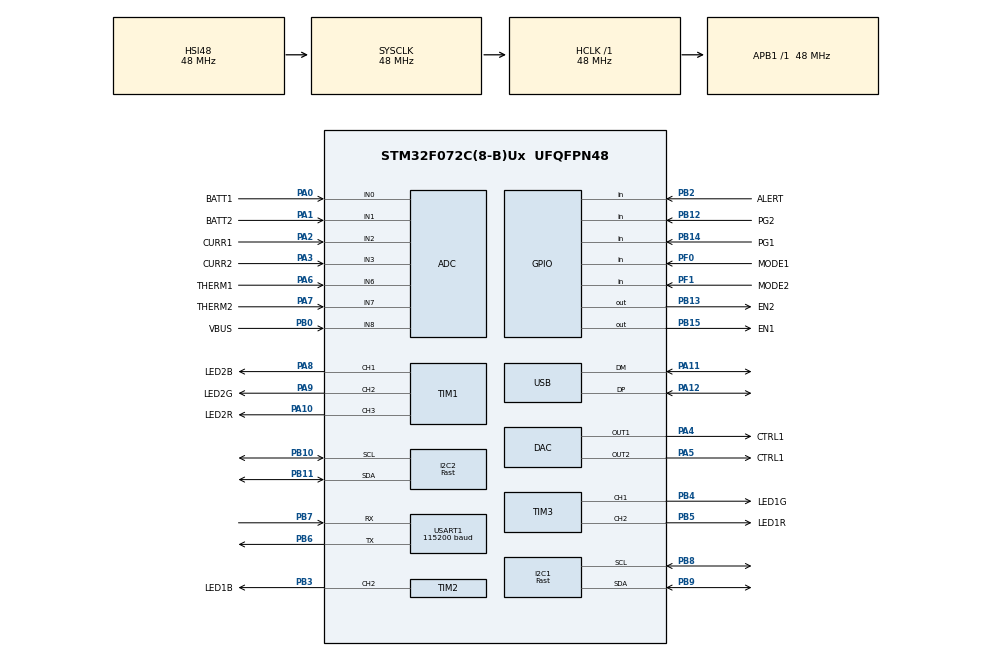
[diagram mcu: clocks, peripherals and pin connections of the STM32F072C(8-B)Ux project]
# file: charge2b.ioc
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ADC.DMAContinuousRequests=ENABLE
ADC.EOCSelection=ADC_EOC_SEQ_CONV
ADC.SamplingTime=ADC_SAMPLETIME_239CYCLES_5
Dma.ADC.0.Direction=DMA_PERIPH_TO_MEMORY
Dma.ADC.0.Instance=DMA1_Channel1
Dma.ADC.0.MemDataAlignment=DMA_MDATAALIGN_HALFWORD
Dma.ADC.0.MemInc=DMA_MINC_ENABLE
Dma.ADC.0.Mode=DMA_NORMAL
Dma.ADC.0.PeriphDataAlignment=DMA_PDATAALIGN_HALFWORD
Dma.ADC.0.PeriphInc=DMA_PINC_DISABLE
Dma.ADC.0.Priority=DMA_PRIORITY_MEDIUM
Dma.Request0=ADC
I2C1.I2C_Speed_Mode=I2C_Fast
I2C1.Timing=0x0010020A
I2C2.I2C_Fall_Time=100
I2C2.I2C_Rise_Time=100
I2C2.I2C_Speed_Mode=I2C_Fast
I2C2.Timing=0x0090194B
IWDG.Prescaler=IWDG_PRESCALER_32
IWDG.Reload=1250
IWDG.Window=1250
Mcu.Family=STM32F0
Mcu.Name=STM32F072C(8-B)Ux
Mcu.Package=UFQFPN48
NVIC.DMA1_Channel1_IRQn=true\:0\:0\:false\:false\:true\:false\:true\:true
NVIC.USB_IRQn=true\:0\:0\:false\:false\:true\:false\:true\:true
PA0.GPIO_Label=BATT1
PA0.Mode=IN0
PA0.Signal=ADC_IN0
PA1.GPIO_Label=BATT2
PA1.Mode=IN1
PA1.Signal=ADC_IN1
PA10.GPIO_Label=LED2R
PA10.Signal=S_TIM1_CH3
PA11.Mode=Device
PA11.Signal=USB_DM
PA12.Mode=Device
PA12.Signal=USB_DP
PA13.Mode=Serial_Wire
PA13.Signal=SYS_SWDIO
PA14.Mode=Serial_Wire
PA14.Signal=SYS_SWCLK
PA2.GPIO_Label=CURR1
PA2.Mode=IN2
PA2.Signal=ADC_IN2
PA3.GPIO_Label=CURR2
PA3.Mode=IN3
PA3.Signal=ADC_IN3
PA4.GPIO_Label=CTRL1
PA4.Signal=COMP_DAC1_group
PA5.GPIO_Label=CTRL1
PA5.Signal=COMP_DAC2_group
PA6.GPIO_Label=THERM1
PA6.Mode=IN6
PA6.Signal=ADC_IN6
PA7.GPIO_Label=THERM2
PA7.Mode=IN7
PA7.Signal=ADC_IN7
PA8.GPIO_Label=LED2B
PA8.Signal=S_TIM1_CH1
PA9.GPIO_Label=LED2G
PA9.Signal=S_TIM1_CH2
PB0.GPIO_Label=VBUS
PB0.Mode=IN8
PB0.Signal=ADC_IN8
PB10.Mode=I2C
PB10.Signal=I2C2_SCL
PB11.Mode=I2C
PB11.Signal=I2C2_SDA
PB12.GPIO_Label=PG2
PB12.GPIO_PuPd=GPIO_PULLUP
PB12.Signal=GPIO_Input
PB13.GPIO_Label=EN2
PB13.GPIO_PuPd=GPIO_PULLDOWN
PB13.Signal=GPIO_Output
PB14.GPIO_Label=PG1
PB14.GPIO_PuPd=GPIO_PULLUP
PB14.Signal=GPIO_Input
PB15.GPIO_Label=EN1
PB15.GPIO_PuPd=GPIO_PULLDOWN
PB15.Signal=GPIO_Output
PB2.GPIO_Label=ALERT
PB2.GPIO_PuPd=GPIO_PULLUP
PB2.Signal=GPIO_Input
PB3.GPIO_Label=LED1B
PB3.Signal=S_TIM2_CH2
PB4.GPIO_Label=LED1G
PB4.Signal=S_TIM3_CH1
PB5.GPIO_Label=LED1R
PB5.Signal=S_TIM3_CH2
PB6.Mode=Asynchronous
PB6.Signal=USART1_TX
PB7.Mode=Asynchronous
PB7.Signal=USART1_RX
PB8.Mode=I2C
PB8.Signal=I2C1_SCL
PB9.Mode=I2C
PB9.Signal=I2C1_SDA
PF0-OSC_IN.GPIO_Label=MODE1
PF0-OSC_IN.GPIO_PuPd=GPIO_PULLUP
PF0-OSC_IN.Signal=GPIO_Input
PF1-OSC_OUT.GPIO_Label=MODE2
PF1-OSC_OUT.GPIO_PuPd=GPIO_PULLUP
PF1-OSC_OUT.Signal=GPIO_Input
ProjectManager.HeapSize=0x200
ProjectManager.StackSize=0x400
ProjectManager.TargetToolchain=CMake
RCC.AHBFreq_Value=48000000
RCC.APB1Freq_Value=48000000
RCC.APB1TimFreq_Value=48000000
RCC.HCLKFreq_Value=48000000
RCC.SYSCLKFreq_VALUE=48000000
RCC.SYSCLKSource=RCC_SYSCLKSOURCE_HSI48
SH.COMP_DAC1_group.0=DAC_OUT1,DAC_OUT1
SH.COMP_DAC2_group.0=DAC_OUT2,DAC_OUT2
SH.S_TIM1_CH1.0=TIM1_CH1,PWM Generation1 CH1
SH.S_TIM1_CH2.0=TIM1_CH2,PWM Generation2 CH2
SH.S_TIM1_CH3.0=TIM1_CH3,PWM Generation3 CH3
SH.S_TIM2_CH2.0=TIM2_CH2,PWM Generation2 CH2
SH.S_TIM3_CH1.0=TIM3_CH1,PWM Generation1 CH1
SH.S_TIM3_CH2.0=TIM3_CH2,PWM Generation2 CH2
STMicroelectronics.X-CUBE-EEPRMA1.5.2.0.EEPROMCcBoardOoPartJjM24JjM24XX=true
TIM1.Channel-PWM\ Generation1\ CH1=TIM_CHANNEL_1
TIM1.Channel-PWM\ Generation2\ CH2=TIM_CHANNEL_2
TIM1.Channel-PWM\ Generation3\ CH3=TIM_CHANNEL_3
TIM2.Channel-PWM\ Generation2\ CH2=TIM_CHANNEL_2
TIM2.Period=65535
TIM3.Channel-PWM\ Generation1\ CH1=TIM_CHANNEL_1
TIM3.Channel-PWM\ Generation2\ CH2=TIM_CHANNEL_2
USART1.BaudRate=115200
USART1.VirtualMode-Asynchronous=VM_ASYNC
USB_DEVICE.CLASS_NAME_FS=CDC
USB_DEVICE.MANUFACTURER_STRING=Tektite
USB_DEVICE.PID_CDC_FS=7777
USB_DEVICE.PRODUCT_STRING_CDC_FS=Charge 2B 0.1.0
USB_DEVICE.VirtualMode=Cdc
USB_DEVICE.VirtualModeFS=Cdc_FS
VP_ADC_TempSens_Input.Mode=IN-TempSens
VP_ADC_Vref_Input.Mode=IN-Vrefint
VP_IWDG_VS_IWDG.Mode=IWDG_Activate
VP_RCC_USB.Mode=CRS SYNC Source USB
VP_STMicroelectronics.X-CUBE-EEPRMA1_VS_BoardOoPartJjEEPROM_5.2.0_5.2.0.Mode=BoardOoPartJjEEPROM
VP_TIM1_VS_ClockSourceINT.Mode=Internal
VP_TIM2_VS_ClockSourceINT.Mode=Internal
VP_TIM3_VS_ClockSourceINT.Mode=Internal
VP_USB_DEVICE_VS_USB_DEVICE_CDC_FS.Mode=CDC_FS
board=custom

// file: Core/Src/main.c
/* USER CODE BEGIN Header */
/**
 ******************************************************************************
 * @file           : main.c
 * @brief          : Main program body
 ******************************************************************************
 * @attention
 *
 * Copyright (c) 2025 STMicroelectronics.
 * All rights reserved.
 *
 * This software is licensed under terms that can be found in the LICENSE file
 * in the root directory of this software component.
 * If no LICENSE file comes with this software, it is provided AS-IS.
 *
 ******************************************************************************
 */
/* USER CODE END Header */
#include "main.h"

#include "usb_device.h"

/* USER CODE BEGIN Includes */
#include "control.h"
#include "fsm.h"
#include "peripheral.h"
#include "ssd1306.h"
#include "ssd1306_fonts.h"
#include "usbd_cdc_if.h"
/* USER CODE END Includes */

ADC_HandleTypeDef hadc;
DMA_HandleTypeDef hdma_adc;

DAC_HandleTypeDef hdac;

I2C_HandleTypeDef hi2c1;
I2C_HandleTypeDef hi2c2;

IWDG_HandleTypeDef hiwdg;

TIM_HandleTypeDef htim1;
TIM_HandleTypeDef htim2;
TIM_HandleTypeDef htim3;

UART_HandleTypeDef huart1;

void SystemClock_Config(void);
static void MX_GPIO_Init(void);
static void MX_DMA_Init(void);
static void MX_ADC_Init(void);
static void MX_DAC_Init(void);
static void MX_I2C1_Init(void);
static void MX_I2C2_Init(void);
static void MX_TIM1_Init(void);
static void MX_TIM2_Init(void);
static void MX_TIM3_Init(void);
static void MX_USART1_UART_Init(void);
static void MX_IWDG_Init(void);

/* USER CODE BEGIN 0 */
int _write(int file, char *ptr, int len) {
  (void)file;  // Unused parameter
  HAL_UART_Transmit(&huart1, (uint8_t *)ptr, len, HAL_MAX_DELAY);
  return len;
}

void DisplayLoadingText(const char *text) {
  int startX = (128 - (strlen(text) * 6)) / 2;
  ssd1306_Display(true);
  ssd1306_FillRectangle(0, 52, 128, 64, Black);
  ssd1306_SetCursor(startX, 54);
  ssd1306_WriteString((char *)text, Font_6x8, White);
  ssd1306_UpdateScreen();

  ssd1306_Display(false);
  ssd1306_FillRectangle(0, 52, 128, 64, Black);
  ssd1306_SetCursor(startX, 54);
  ssd1306_WriteString((char *)text, Font_6x8, White);
  ssd1306_UpdateScreen();
}
/* USER CODE END 0 */

int main(void) {

  /* MCU Configuration--------------------------------------------------------*/

  /* Reset of all peripherals, Initializes the Flash interface and the Systick.
   */
  HAL_Init();

  /* Configure the system clock */
  SystemClock_Config();

  /* Initialize all configured peripherals */
  MX_GPIO_Init();
  MX_DMA_Init();
  MX_ADC_Init();
  MX_DAC_Init();
  MX_I2C1_Init();
  MX_I2C2_Init();
  MX_TIM1_Init();
  MX_TIM2_Init();
  MX_TIM3_Init();
  MX_USART1_UART_Init();
  MX_USB_DEVICE_Init();
  MX_IWDG_Init();
  /* USER CODE BEGIN 2 */
  // Start DAC
  HAL_DAC_Start(&hdac, DAC_CHANNEL_1);
  HAL_DAC_Start(&hdac, DAC_CHANNEL_2);
  EnableReg(true, false);  // Disable regs
  EnableReg(false, false);

  /*// TODO: REMOVE
  __HAL_RCC_DBGMCU_CLK_ENABLE();
  __HAL_DBGMCU_FREEZE_IWDG();*/

  // Start LEDs
  HAL_TIM_PWM_Start(&htim1, TIM_CHANNEL_1);
  HAL_TIM_PWM_Start(&htim1, TIM_CHANNEL_2);
  HAL_TIM_PWM_Start(&htim1, TIM_CHANNEL_3);
  HAL_TIM_PWM_Start(&htim3, TIM_CHANNEL_1);
  HAL_TIM_PWM_Start(&htim3, TIM_CHANNEL_2);
  HAL_TIM_PWM_Start(&htim2, TIM_CHANNEL_2);

  // Start ADC
  if (HAL_ADCEx_Calibration_Start(&hadc) != HAL_OK) {
    Error_Handler();
  }
  __enable_irq();

  // Display
  LEDWrite(true, 0.0f, 0.0f, 0.4f);
  LEDWrite(false, 0.0f, 0.0f, 0.4f);

  ssd1306_Display(true);
  ssd1306_Init();
  ssd1306_DrawBitmap(0, 0, tektite_logo, 128, 52, White);
  ssd1306_SetCursor(19, 54);
  ssd1306_WriteString("NEGOTIATING PDO", Font_6x8, White);
  ssd1306_UpdateScreen();

  ssd1306_Display(false);
  ssd1306_Init();
  ssd1306_DrawBitmap(0, 0, tektite_logo, 128, 52, White);
  ssd1306_SetCursor(19, 54);
  ssd1306_WriteString("NEGOTIATING PDO", Font_6x8, White);
  ssd1306_UpdateScreen();

  // IWDG reset
  HAL_IWDG_Refresh(&hiwdg);

  // USB Read
  bool needsWrite = false;
  for (int i = 0; i < 3; i++) {
    float voltage, current;
    HAL_StatusTypeDef status = USB_ReadPDO(i, &voltage, &current);
    printf("PDO %d: Voltage - %f, Current - %f, Status - %d\n", i + 1, voltage,
           current, status);

    if (i == 1 &&
        (!FLOAT_EQUALS(voltage, 16.0f) || !FLOAT_EQUALS(current, 4.0f))) {
      USB_WritePDO(i, 16.0f, 4.0f);
      needsWrite = true;
      printf("Updated PDO %d to Voltage - 16.0, Current - 4.0\n", i + 1);
    }

    if (i == 2 &&
        (!FLOAT_EQUALS(voltage, 20.0f) || !FLOAT_EQUALS(current, 3.2f))) {
      USB_WritePDO(i, 20.0f, 3.2f);
      needsWrite = true;
      printf("Updated PDO %d to Voltage - 20.0, Current - 3.2\n", i + 1);
    }
  }

  // Write if needed
  // HAL_StatusTypeDef status = USB_WriteDefaultNVM();
  // printf("Write Default NVM Status - %d\n", status);
  if (needsWrite) {
    HAL_StatusTypeDef status = USB_WriteNVMFromPDOs();
    printf("Write NVM from PDOs Status - %d\n", status);
  }

  // IWDG reset
  HAL_IWDG_Refresh(&hiwdg);

  bool negotiated = false;
  int timeout_count = 0;
  const int max_timeout = 20;  // 5 seconds (20 * 250ms)

  while (!negotiated && timeout_count < max_timeout) {
    USB_NegotiatedPDO(&negotiated);
    printf("Negotiated PDO: %d\n", negotiated);
    HAL_Delay(250);
    timeout_count++;
    HAL_IWDG_Refresh(&hiwdg);
  }

  if (!negotiated) {
    printf("PD negotiation timeout - no PD source detected\n");
    LEDWrite(true, 0.4f, 0.0f, 0.0f);  // Red LEDs for error
    LEDWrite(false, 0.4f, 0.0f, 0.0f);
    DisplayLoadingText("NO PD SOURCE");
    while (1) {
      HAL_Delay(500);
      HAL_IWDG_Refresh(&hiwdg);
    }
  }

  bool active;
  USB_NegotiatedPower(&active);
  printf("Active PDO voltage: %d\n", active);
  if (!active) {  // Not 65W brick
    LEDWrite(true, 0.4f, 0.0f, 0.0f);
    LEDWrite(false, 0.4f, 0.0f, 0.0f);
    DisplayLoadingText("UNDER 65W BRICK");
    while (1) {
      HAL_Delay(500);
      HAL_IWDG_Refresh(&hiwdg);
    }
  }

  // Set up EEPROM
  if (EEPROM_Init() != HAL_OK) {
    LEDWrite(true, 0.4f, 0.0f, 0.0f);
    LEDWrite(false, 0.4f, 0.0f, 0.0f);
    DisplayLoadingText("EEPROM INIT FAILED");
    while (1) {
      HAL_Delay(500);
      HAL_IWDG_Refresh(&hiwdg);
    }
  }
  InitFSM();

  // Clear
  ssd1306_Display(true);
  ssd1306_Fill(Black);
  ssd1306_UpdateScreen();

  ssd1306_Display(false);
  ssd1306_Fill(Black);
  ssd1306_UpdateScreen();

  LEDWrite(true, 0.0f, 0.0f, 0.0f);
  LEDWrite(false, 0.0f, 0.0f, 0.0f);
  /* USER CODE END 2 */

  /* Infinite loop */
  /* USER CODE BEGIN WHILE */
  float curr = 2.0f;
  ResetCurrent(true, curr);
  ResetCurrent(false, curr);
  uint32_t prevTime = HAL_GetTick();
  uint32_t lastRender = HAL_GetTick();
  bool rendered2 = false;
  while (1) {
    /* USER CODE END WHILE */

    /* USER CODE BEGIN 3 */
    HAL_IWDG_Refresh(&hiwdg);

    UpdateADC();

    float dT = (HAL_GetTick() - prevTime) / 1000.0f;  // Convert to seconds
    prevTime = HAL_GetTick();

    // FSM
    fsm_Run(true, dT);
    fsm_Run(false, dT);

    // Render
    if (HAL_GetTick() - lastRender > 200) {
      fsm_Render(true);
      lastRender = HAL_GetTick();
      rendered2 = false;
    }
    // Render second display 180deg out of phase
    if (HAL_GetTick() - lastRender > 100 && !rendered2) {
      fsm_Render(false);
      rendered2 = true;
    }
  }
  /* USER CODE END 3 */
}

void SystemClock_Config(void) {
  RCC_OscInitTypeDef RCC_OscInitStruct = {0};
  RCC_ClkInitTypeDef RCC_ClkInitStruct = {0};
  RCC_PeriphCLKInitTypeDef PeriphClkInit = {0};
  RCC_CRSInitTypeDef RCC_CRSInitStruct = {0};

  /** Initializes the RCC Oscillators according to the specified parameters
   * in the RCC_OscInitTypeDef structure.
   */
  RCC_OscInitStruct.OscillatorType =
      RCC_OSCILLATORTYPE_HSI | RCC_OSCILLATORTYPE_HSI14 |
      RCC_OSCILLATORTYPE_HSI48 | RCC_OSCILLATORTYPE_LSI;
  RCC_OscInitStruct.HSIState = RCC_HSI_ON;
  RCC_OscInitStruct.HSI48State = RCC_HSI48_ON;
  RCC_OscInitStruct.HSI14State = RCC_HSI14_ON;
  RCC_OscInitStruct.HSICalibrationValue = RCC_HSICALIBRATION_DEFAULT;
  RCC_OscInitStruct.HSI14CalibrationValue = 16;
  RCC_OscInitStruct.LSIState = RCC_LSI_ON;
  RCC_OscInitStruct.PLL.PLLState = RCC_PLL_NONE;
  if (HAL_RCC_OscConfig(&RCC_OscInitStruct) != HAL_OK) {
    Error_Handler();
  }

  /** Initializes the CPU, AHB and APB buses clocks
   */
  RCC_ClkInitStruct.ClockType =
      RCC_CLOCKTYPE_HCLK | RCC_CLOCKTYPE_SYSCLK | RCC_CLOCKTYPE_PCLK1;
  RCC_ClkInitStruct.SYSCLKSource = RCC_SYSCLKSOURCE_HSI48;
  RCC_ClkInitStruct.AHBCLKDivider = RCC_SYSCLK_DIV1;
  RCC_ClkInitStruct.APB1CLKDivider = RCC_HCLK_DIV1;

  if (HAL_RCC_ClockConfig(&RCC_ClkInitStruct, FLASH_LATENCY_1) != HAL_OK) {
    Error_Handler();
  }
  PeriphClkInit.PeriphClockSelection =
      RCC_PERIPHCLK_USB | RCC_PERIPHCLK_USART1 | RCC_PERIPHCLK_I2C1;
  PeriphClkInit.Usart1ClockSelection = RCC_USART1CLKSOURCE_PCLK1;
  PeriphClkInit.I2c1ClockSelection = RCC_I2C1CLKSOURCE_HSI;
  PeriphClkInit.UsbClockSelection = RCC_USBCLKSOURCE_HSI48;

  if (HAL_RCCEx_PeriphCLKConfig(&PeriphClkInit) != HAL_OK) {
    Error_Handler();
  }

  /** Enable the SYSCFG APB clock
   */
  __HAL_RCC_CRS_CLK_ENABLE();

  /** Configures CRS
   */
  RCC_CRSInitStruct.Prescaler = RCC_CRS_SYNC_DIV1;
  RCC_CRSInitStruct.Source = RCC_CRS_SYNC_SOURCE_USB;
  RCC_CRSInitStruct.Polarity = RCC_CRS_SYNC_POLARITY_RISING;
  RCC_CRSInitStruct.ReloadValue =
      __HAL_RCC_CRS_RELOADVALUE_CALCULATE(48000000, 1000);
  RCC_CRSInitStruct.ErrorLimitValue = 34;
  RCC_CRSInitStruct.HSI48CalibrationValue = 32;

  HAL_RCCEx_CRSConfig(&RCC_CRSInitStruct);
}

static void MX_ADC_Init(void) {

  ADC_ChannelConfTypeDef sConfig = {0};

  /** Configure the global features of the ADC (Clock, Resolution, Data
   * Alignment and number of conversion)
   */
  hadc.Instance = ADC1;
  hadc.Init.ClockPrescaler = ADC_CLOCK_ASYNC_DIV1;
  hadc.Init.Resolution = ADC_RESOLUTION_12B;
  hadc.Init.DataAlign = ADC_DATAALIGN_RIGHT;
  hadc.Init.ScanConvMode = ADC_SCAN_DIRECTION_FORWARD;
  hadc.Init.EOCSelection = ADC_EOC_SEQ_CONV;
  hadc.Init.LowPowerAutoWait = DISABLE;
  hadc.Init.LowPowerAutoPowerOff = DISABLE;
  hadc.Init.ContinuousConvMode = DISABLE;
  hadc.Init.DiscontinuousConvMode = DISABLE;
  hadc.Init.ExternalTrigConv = ADC_SOFTWARE_START;
  hadc.Init.ExternalTrigConvEdge = ADC_EXTERNALTRIGCONVEDGE_NONE;
  hadc.Init.DMAContinuousRequests = ENABLE;
  hadc.Init.Overrun = ADC_OVR_DATA_PRESERVED;
  if (HAL_ADC_Init(&hadc) != HAL_OK) {
    Error_Handler();
  }

  /** Configure for the selected ADC regular channel to be converted.
   */
  sConfig.Channel = ADC_CHANNEL_0;
  sConfig.Rank = ADC_RANK_CHANNEL_NUMBER;
  sConfig.SamplingTime = ADC_SAMPLETIME_239CYCLES_5;
  if (HAL_ADC_ConfigChannel(&hadc, &sConfig) != HAL_OK) {
    Error_Handler();
  }

  /** Configure for the selected ADC regular channel to be converted.
   */
  sConfig.Channel = ADC_CHANNEL_1;
  if (HAL_ADC_ConfigChannel(&hadc, &sConfig) != HAL_OK) {
    Error_Handler();
  }

  /** Configure for the selected ADC regular channel to be converted.
   */
  sConfig.Channel = ADC_CHANNEL_2;
  if (HAL_ADC_ConfigChannel(&hadc, &sConfig) != HAL_OK) {
    Error_Handler();
  }

  /** Configure for the selected ADC regular channel to be converted.
   */
  sConfig.Channel = ADC_CHANNEL_3;
  if (HAL_ADC_ConfigChannel(&hadc, &sConfig) != HAL_OK) {
    Error_Handler();
  }

  /** Configure for the selected ADC regular channel to be converted.
   */
  sConfig.Channel = ADC_CHANNEL_6;
  if (HAL_ADC_ConfigChannel(&hadc, &sConfig) != HAL_OK) {
    Error_Handler();
  }

  /** Configure for the selected ADC regular channel to be converted.
   */
  sConfig.Channel = ADC_CHANNEL_7;
  if (HAL_ADC_ConfigChannel(&hadc, &sConfig) != HAL_OK) {
    Error_Handler();
  }

  /** Configure for the selected ADC regular channel to be converted.
   */
  sConfig.Channel = ADC_CHANNEL_8;
  if (HAL_ADC_ConfigChannel(&hadc, &sConfig) != HAL_OK) {
    Error_Handler();
  }

  /** Configure for the selected ADC regular channel to be converted.
   */
  sConfig.Channel = ADC_CHANNEL_TEMPSENSOR;
  if (HAL_ADC_ConfigChannel(&hadc, &sConfig) != HAL_OK) {
    Error_Handler();
  }

  /** Configure for the selected ADC regular channel to be converted.
   */
  sConfig.Channel = ADC_CHANNEL_VREFINT;
  if (HAL_ADC_ConfigChannel(&hadc, &sConfig) != HAL_OK) {
    Error_Handler();
  }
}

static void MX_DAC_Init(void) {

  DAC_ChannelConfTypeDef sConfig = {0};

  /** DAC Initialization
   */
  hdac.Instance = DAC;
  if (HAL_DAC_Init(&hdac) != HAL_OK) {
    Error_Handler();
  }

  /** DAC channel OUT1 config
   */
  sConfig.DAC_Trigger = DAC_TRIGGER_NONE;
  sConfig.DAC_OutputBuffer = DAC_OUTPUTBUFFER_ENABLE;
  if (HAL_DAC_ConfigChannel(&hdac, &sConfig, DAC_CHANNEL_1) != HAL_OK) {
    Error_Handler();
  }

  /** DAC channel OUT2 config
   */
  if (HAL_DAC_ConfigChannel(&hdac, &sConfig, DAC_CHANNEL_2) != HAL_OK) {
    Error_Handler();
  }
}

static void MX_I2C1_Init(void) {

  hi2c1.Instance = I2C1;
  hi2c1.Init.Timing = 0x0010020A;
  hi2c1.Init.OwnAddress1 = 0;
  hi2c1.Init.AddressingMode = I2C_ADDRESSINGMODE_7BIT;
  hi2c1.Init.DualAddressMode = I2C_DUALADDRESS_DISABLE;
  hi2c1.Init.OwnAddress2 = 0;
  hi2c1.Init.OwnAddress2Masks = I2C_OA2_NOMASK;
  hi2c1.Init.GeneralCallMode = I2C_GENERALCALL_DISABLE;
  hi2c1.Init.NoStretchMode = I2C_NOSTRETCH_DISABLE;
  if (HAL_I2C_Init(&hi2c1) != HAL_OK) {
    Error_Handler();
  }

  /** Configure Analogue filter
   */
  if (HAL_I2CEx_ConfigAnalogFilter(&hi2c1, I2C_ANALOGFILTER_ENABLE) != HAL_OK) {
    Error_Handler();
  }

  /** Configure Digital filter
   */
  if (HAL_I2CEx_ConfigDigitalFilter(&hi2c1, 0) != HAL_OK) {
    Error_Handler();
  }
}

static void MX_I2C2_Init(void) {

  hi2c2.Instance = I2C2;
  hi2c2.Init.Timing = 0x0090194B;
  hi2c2.Init.OwnAddress1 = 0;
  hi2c2.Init.AddressingMode = I2C_ADDRESSINGMODE_7BIT;
  hi2c2.Init.DualAddressMode = I2C_DUALADDRESS_DISABLE;
  hi2c2.Init.OwnAddress2 = 0;
  hi2c2.Init.OwnAddress2Masks = I2C_OA2_NOMASK;
  hi2c2.Init.GeneralCallMode = I2C_GENERALCALL_DISABLE;
  hi2c2.Init.NoStretchMode = I2C_NOSTRETCH_DISABLE;
  if (HAL_I2C_Init(&hi2c2) != HAL_OK) {
    Error_Handler();
  }

  /** Configure Analogue filter
   */
  if (HAL_I2CEx_ConfigAnalogFilter(&hi2c2, I2C_ANALOGFILTER_ENABLE) != HAL_OK) {
    Error_Handler();
  }

  /** Configure Digital filter
   */
  if (HAL_I2CEx_ConfigDigitalFilter(&hi2c2, 0) != HAL_OK) {
    Error_Handler();
  }
}

static void MX_IWDG_Init(void) {

  hiwdg.Instance = IWDG;
  hiwdg.Init.Prescaler = IWDG_PRESCALER_32;
  hiwdg.Init.Window = 1250;
  hiwdg.Init.Reload = 1250;
  if (HAL_IWDG_Init(&hiwdg) != HAL_OK) {
    Error_Handler();
  }
}

static void MX_TIM1_Init(void) {

  TIM_ClockConfigTypeDef sClockSourceConfig = {0};
  TIM_MasterConfigTypeDef sMasterConfig = {0};
  TIM_OC_InitTypeDef sConfigOC = {0};
  TIM_BreakDeadTimeConfigTypeDef sBreakDeadTimeConfig = {0};

  htim1.Instance = TIM1;
  htim1.Init.Prescaler = 0;
  htim1.Init.CounterMode = TIM_COUNTERMODE_UP;
  htim1.Init.Period = 65535;
  htim1.Init.ClockDivision = TIM_CLOCKDIVISION_DIV1;
  htim1.Init.RepetitionCounter = 0;
  htim1.Init.AutoReloadPreload = TIM_AUTORELOAD_PRELOAD_DISABLE;
  if (HAL_TIM_Base_Init(&htim1) != HAL_OK) {
    Error_Handler();
  }
  sClockSourceConfig.ClockSource = TIM_CLOCKSOURCE_INTERNAL;
  if (HAL_TIM_ConfigClockSource(&htim1, &sClockSourceConfig) != HAL_OK) {
    Error_Handler();
  }
  if (HAL_TIM_PWM_Init(&htim1) != HAL_OK) {
    Error_Handler();
  }
  sMasterConfig.MasterOutputTrigger = TIM_TRGO_RESET;
  sMasterConfig.MasterSlaveMode = TIM_MASTERSLAVEMODE_DISABLE;
  if (HAL_TIMEx_MasterConfigSynchronization(&htim1, &sMasterConfig) != HAL_OK) {
    Error_Handler();
  }
  sConfigOC.OCMode = TIM_OCMODE_PWM1;
  sConfigOC.Pulse = 0;
  sConfigOC.OCPolarity = TIM_OCPOLARITY_HIGH;
  sConfigOC.OCNPolarity = TIM_OCNPOLARITY_HIGH;
  sConfigOC.OCFastMode = TIM_OCFAST_DISABLE;
  sConfigOC.OCIdleState = TIM_OCIDLESTATE_RESET;
  sConfigOC.OCNIdleState = TIM_OCNIDLESTATE_RESET;
  if (HAL_TIM_PWM_ConfigChannel(&htim1, &sConfigOC, TIM_CHANNEL_1) != HAL_OK) {
    Error_Handler();
  }
  if (HAL_TIM_PWM_ConfigChannel(&htim1, &sConfigOC, TIM_CHANNEL_2) != HAL_OK) {
    Error_Handler();
  }
  if (HAL_TIM_PWM_ConfigChannel(&htim1, &sConfigOC, TIM_CHANNEL_3) != HAL_OK) {
    Error_Handler();
  }
  sBreakDeadTimeConfig.OffStateRunMode = TIM_OSSR_DISABLE;
  sBreakDeadTimeConfig.OffStateIDLEMode = TIM_OSSI_DISABLE;
  sBreakDeadTimeConfig.LockLevel = TIM_LOCKLEVEL_OFF;
  sBreakDeadTimeConfig.DeadTime = 0;
  sBreakDeadTimeConfig.BreakState = TIM_BREAK_DISABLE;
  sBreakDeadTimeConfig.BreakPolarity = TIM_BREAKPOLARITY_HIGH;
  sBreakDeadTimeConfig.AutomaticOutput = TIM_AUTOMATICOUTPUT_DISABLE;
  if (HAL_TIMEx_ConfigBreakDeadTime(&htim1, &sBreakDeadTimeConfig) != HAL_OK) {
    Error_Handler();
  }
  HAL_TIM_MspPostInit(&htim1);
}

static void MX_TIM2_Init(void) {

  TIM_ClockConfigTypeDef sClockSourceConfig = {0};
  TIM_MasterConfigTypeDef sMasterConfig = {0};
  TIM_OC_InitTypeDef sConfigOC = {0};

  htim2.Instance = TIM2;
  htim2.Init.Prescaler = 0;
  htim2.Init.CounterMode = TIM_COUNTERMODE_UP;
  htim2.Init.Period = 65535;
  htim2.Init.ClockDivision = TIM_CLOCKDIVISION_DIV1;
  htim2.Init.AutoReloadPreload = TIM_AUTORELOAD_PRELOAD_DISABLE;
  if (HAL_TIM_Base_Init(&htim2) != HAL_OK) {
    Error_Handler();
  }
  sClockSourceConfig.ClockSource = TIM_CLOCKSOURCE_INTERNAL;
  if (HAL_TIM_ConfigClockSource(&htim2, &sClockSourceConfig) != HAL_OK) {
    Error_Handler();
  }
  if (HAL_TIM_PWM_Init(&htim2) != HAL_OK) {
    Error_Handler();
  }
  sMasterConfig.MasterOutputTrigger = TIM_TRGO_RESET;
  sMasterConfig.MasterSlaveMode = TIM_MASTERSLAVEMODE_DISABLE;
  if (HAL_TIMEx_MasterConfigSynchronization(&htim2, &sMasterConfig) != HAL_OK) {
    Error_Handler();
  }
  sConfigOC.OCMode = TIM_OCMODE_PWM1;
  sConfigOC.Pulse = 0;
  sConfigOC.OCPolarity = TIM_OCPOLARITY_HIGH;
  sConfigOC.OCFastMode = TIM_OCFAST_DISABLE;
  if (HAL_TIM_PWM_ConfigChannel(&htim2, &sConfigOC, TIM_CHANNEL_2) != HAL_OK) {
    Error_Handler();
  }
  HAL_TIM_MspPostInit(&htim2);
}

static void MX_TIM3_Init(void) {

  TIM_ClockConfigTypeDef sClockSourceConfig = {0};
  TIM_MasterConfigTypeDef sMasterConfig = {0};
  TIM_OC_InitTypeDef sConfigOC = {0};

  htim3.Instance = TIM3;
  htim3.Init.Prescaler = 0;
  htim3.Init.CounterMode = TIM_COUNTERMODE_UP;
  htim3.Init.Period = 65535;
  htim3.Init.ClockDivision = TIM_CLOCKDIVISION_DIV1;
  htim3.Init.AutoReloadPreload = TIM_AUTORELOAD_PRELOAD_DISABLE;
  if (HAL_TIM_Base_Init(&htim3) != HAL_OK) {
    Error_Handler();
  }
  sClockSourceConfig.ClockSource = TIM_CLOCKSOURCE_INTERNAL;
  if (HAL_TIM_ConfigClockSource(&htim3, &sClockSourceConfig) != HAL_OK) {
    Error_Handler();
  }
  if (HAL_TIM_PWM_Init(&htim3) != HAL_OK) {
    Error_Handler();
  }
  sMasterConfig.MasterOutputTrigger = TIM_TRGO_RESET;
  sMasterConfig.MasterSlaveMode = TIM_MASTERSLAVEMODE_DISABLE;
  if (HAL_TIMEx_MasterConfigSynchronization(&htim3, &sMasterConfig) != HAL_OK) {
    Error_Handler();
  }
  sConfigOC.OCMode = TIM_OCMODE_PWM1;
  sConfigOC.Pulse = 0;
  sConfigOC.OCPolarity = TIM_OCPOLARITY_HIGH;
  sConfigOC.OCFastMode = TIM_OCFAST_DISABLE;
  if (HAL_TIM_PWM_ConfigChannel(&htim3, &sConfigOC, TIM_CHANNEL_1) != HAL_OK) {
    Error_Handler();
  }
  if (HAL_TIM_PWM_ConfigChannel(&htim3, &sConfigOC, TIM_CHANNEL_2) != HAL_OK) {
    Error_Handler();
  }
  HAL_TIM_MspPostInit(&htim3);
}

static void MX_USART1_UART_Init(void) {

  huart1.Instance = USART1;
  huart1.Init.BaudRate = 115200;
  huart1.Init.WordLength = UART_WORDLENGTH_8B;
  huart1.Init.StopBits = UART_STOPBITS_1;
  huart1.Init.Parity = UART_PARITY_NONE;
  huart1.Init.Mode = UART_MODE_TX_RX;
  huart1.Init.HwFlowCtl = UART_HWCONTROL_NONE;
  huart1.Init.OverSampling = UART_OVERSAMPLING_16;
  huart1.Init.OneBitSampling = UART_ONE_BIT_SAMPLE_DISABLE;
  huart1.AdvancedInit.AdvFeatureInit = UART_ADVFEATURE_NO_INIT;
  if (HAL_UART_Init(&huart1) != HAL_OK) {
    Error_Handler();
  }
}

static void MX_DMA_Init(void) {
  /* DMA controller clock enable */
  __HAL_RCC_DMA1_CLK_ENABLE();

  /* DMA interrupt init */
  /* DMA1_Channel1_IRQn interrupt configuration */
  HAL_NVIC_SetPriority(DMA1_Channel1_IRQn, 0, 0);
  HAL_NVIC_EnableIRQ(DMA1_Channel1_IRQn);
}

static void MX_GPIO_Init(void) {
  GPIO_InitTypeDef GPIO_InitStruct = {0};

  /* GPIO Ports Clock Enable */
  __HAL_RCC_GPIOF_CLK_ENABLE();
  __HAL_RCC_GPIOA_CLK_ENABLE();
  __HAL_RCC_GPIOB_CLK_ENABLE();

  /*Configure GPIO pin Output Level */
  HAL_GPIO_WritePin(GPIOB, EN2_Pin | EN1_Pin, GPIO_PIN_RESET);

  /*Configure GPIO pins : MODE1_Pin MODE2_Pin */
  GPIO_InitStruct.Pin = MODE1_Pin | MODE2_Pin;
  GPIO_InitStruct.Mode = GPIO_MODE_INPUT;
  GPIO_InitStruct.Pull = GPIO_PULLUP;
  HAL_GPIO_Init(GPIOF, &GPIO_InitStruct);

  /*Configure GPIO pins : ALERT_Pin PG2_Pin PG1_Pin */
  GPIO_InitStruct.Pin = ALERT_Pin | PG2_Pin | PG1_Pin;
  GPIO_InitStruct.Mode = GPIO_MODE_INPUT;
  GPIO_InitStruct.Pull = GPIO_PULLUP;
  HAL_GPIO_Init(GPIOB, &GPIO_InitStruct);

  /*Configure GPIO pins : EN2_Pin EN1_Pin */
  GPIO_InitStruct.Pin = EN2_Pin | EN1_Pin;
  GPIO_InitStruct.Mode = GPIO_MODE_OUTPUT_PP;
  GPIO_InitStruct.Pull = GPIO_PULLDOWN;
  GPIO_InitStruct.Speed = GPIO_SPEED_FREQ_LOW;
  HAL_GPIO_Init(GPIOB, &GPIO_InitStruct);

}

void Error_Handler(void) {
  __disable_irq();
  while (1) {
  }
}

#ifdef USE_FULL_ASSERT
/**
 * @brief  Reports the name of the source file and the source line number
 *         where the assert_param error has occurred.
 * @param  file: pointer to the source file name
 * @param  line: assert_param error line source number
 * @retval None
 */
void assert_failed(uint8_t *file, uint32_t line) {
  /* USER CODE BEGIN 6 */
  /* User can add his own implementation to report the file name and line
     number, ex: printf("Wrong parameters value: file %s on line %d\r\n", file,
     line) */
  /* USER CODE END 6 */
}
#endif /* USE_FULL_ASSERT */
